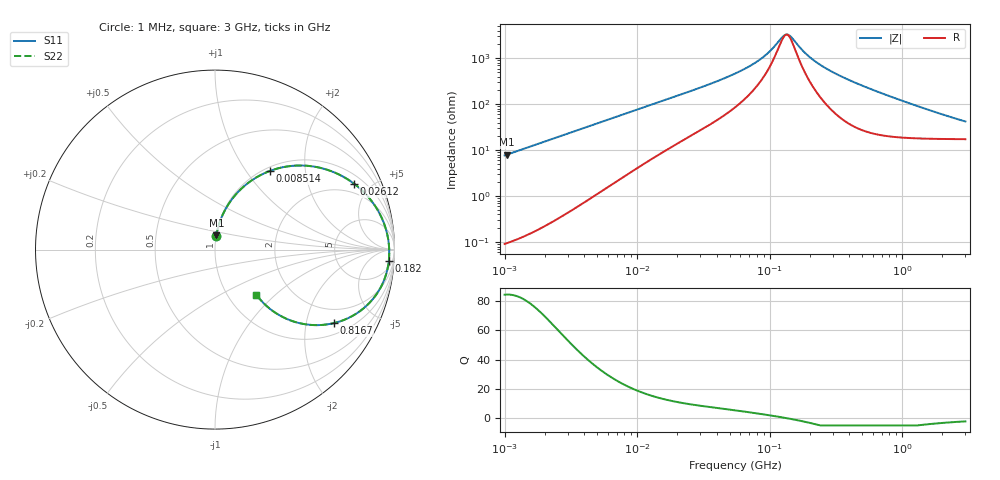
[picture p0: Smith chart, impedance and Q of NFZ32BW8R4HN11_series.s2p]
! NFZ32BW8R4HN11
# Hz S RI R 50
!Freq.(Hz) S11(Real) S11(Imag) S21(Real) S21(Imag) S12(Real) S12(Imag) S22(Real) S22(Imag)
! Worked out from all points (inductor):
!   401 points, 1 MHz to 3 GHz, reference 50 ohm
!   read as one part in series: L = 1.23 uH near 1.041 MHz
!   highest Q = 84.3 at 1.041 MHz (marker M1), where L = 1.23 uH
!   self-resonance near 134.1 MHz
!   S11 on the Smith chart (normalised r, x): 1 MHz: 1.00, +0.15; 8.514 MHz: 1.06, +1.31; 26.12 MHz: 1.43, +3.97; 182 MHz: 12, -25; 816.7 MHz: 1.40, -2.92; 3 GHz: 1.35, -0.77
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1000000  0.0068 0.0765  0.9932 -0.0765  0.9932 -0.0765  0.0068 0.0765
1040844  0.00732 0.0795  0.9927 -0.0795  0.9927 -0.0795  0.00732 0.0795
2055611  0.0266 0.1538  0.9734 -0.1538  0.9734 -0.1538  0.0266 0.1538
3823119  0.0849 0.2675  0.9151 -0.2675  0.9151 -0.2675  0.0849 0.2675
5705239  0.1693 0.3592  0.8307 -0.3592  0.8307 -0.3592  0.1693 0.3592
8513927  0.3073 0.4388  0.6927 -0.4388  0.6927 -0.4388  0.3073 0.4388
1.461624e7  0.5511 0.4625  0.4489 -0.4625  0.4489 -0.4625  0.5511 0.4625
2.611722e7  0.776 0.3663  0.224 -0.3663  0.224 -0.3663  0.776 0.3663
5.477226e7  0.9236 0.188  0.0764 -0.188  0.0764 -0.188  0.9236 0.188
8.679508e7  0.9591 0.0876  0.0409 -0.0876  0.0409 -0.0876  0.9591 0.0876
1.321429e8  0.9705 0.00291  0.0295 -0.00291  0.0295 -0.00291  0.9705 0.00291
1.431579e8  0.9709 -0.0133  0.0291 0.0133  0.0291 0.0133  0.9709 -0.0133
1.820241e8  0.9684 -0.0633  0.0316 0.0633  0.0316 0.0633  0.9684 -0.0633
2.094008e8  0.9639 -0.0942  0.0361 0.0942  0.0361 0.0942  0.9639 -0.0942
2.716345e8  0.9475 -0.1559  0.0525 0.1559  0.0525 0.1559  0.9475 -0.1559
3.741707e8  0.9063 -0.2392  0.0937 0.2392  0.0937 0.2392  0.9063 -0.2392
5.364635e8  0.8206 -0.333  0.1794 0.333  0.1794 0.333  0.8206 -0.333
8.005644e8  0.6726 -0.4071  0.3274 0.4071  0.3274 0.4071  0.6726 -0.4071
8.167498e8  0.6641 -0.4092  0.3359 0.4092  0.3359 0.4092  0.6641 -0.4092
1.147801e9  0.5155 -0.4178  0.4845 0.4178  0.4845 0.4178  0.5155 -0.4178
1.67892e9  0.3682 -0.3709  0.6318 0.3709  0.6318 0.3709  0.3682 -0.3709
3e9  0.2306 -0.252  0.7694 0.252  0.7694 0.252  0.2306 -0.252
